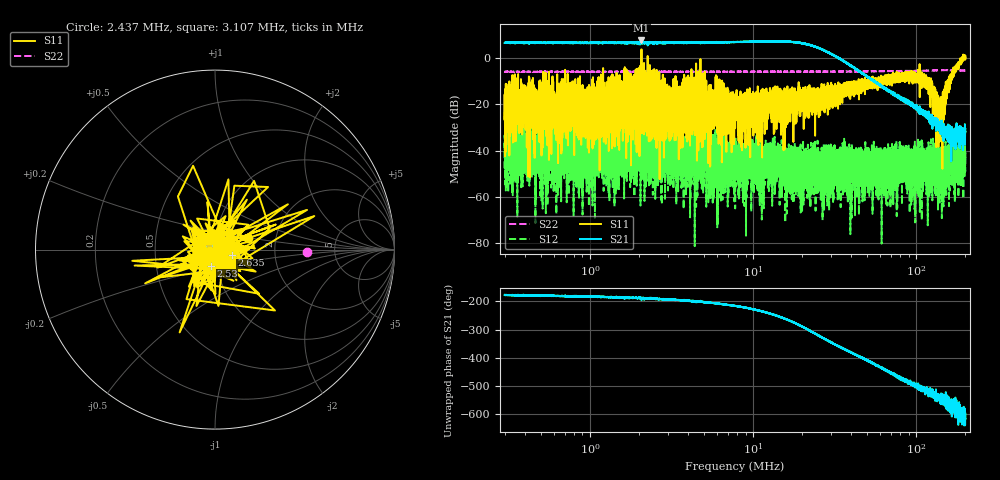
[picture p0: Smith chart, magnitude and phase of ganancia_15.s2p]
# Hz S DB R 50
! CMT, M5065, 19127446, 24.2.4/2
! Date: 11/1/2024 4:23:41 PM
! Data: Format (Calibration Info)
! Freq	S11:dB/Ang(F2)	S21:dB/Ang(F2)	S12:dB/Ang(F2)	S22:dB/Ang(F2)
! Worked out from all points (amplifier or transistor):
!   9000 points, 300 kHz to 200 MHz, reference 50 ohm
!   highest |S21| = 7.7 dB at 2.07 MHz (marker M1)
!   |S21| within 3 dB of that: start of sweep to 24.64 MHz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
!   unconditionally stable (mu >= 1): start of sweep to 2.069 MHz; 2.26 MHz to 4.757 MHz; 4.759 MHz to 190.7 MHz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
!   at 886.8 kHz: K = 14.14, MAG = 7.9 dB, |S12| = -38.3 dB
!   at 7.749 MHz: K = 21.21, MAG = 8.3 dB, |S12| = -42.2 dB
!   at 200 MHz: K = 17.24, MAG = -8.8 dB, |S12| = -43.9 dB
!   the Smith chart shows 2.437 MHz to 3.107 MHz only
!   S11 on the Smith chart (normalised r, x): 2.437 MHz: 1.44, +0.19; 2.53 MHz: 0.94, -0.17; 2.635 MHz: 1.20, -0.07; 3.107 MHz: 0.79, +0.16
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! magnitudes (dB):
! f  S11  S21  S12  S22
! 300 kHz  -26.3  6.7  -39.9  -5.9
! 351.2 kHz  -35.9  6.7  -50.2  -5.9
! 886.8 kHz  -21.2  6.6  -38.3  -5.9
! 1.663 MHz  -20.7  6.6  -41.4  -5.9
! 2.07 MHz  3.9  7.7  -38.9  -5.8
! 2.437 MHz  -14.2  6.5  -37.8  -5.8
! 2.53 MHz  -20.7  6.7  -37.6  -5.9
! 2.621 MHz  -17.4  6.7  -40.8  -5.8
! 2.635 MHz  -20.2  6.6  -42.0  -5.9
! 3.107 MHz  -16.7  6.7  -48.3  -5.8
! 4.642 MHz  -19.1  6.8  -40.1  -5.9
! 5.598 MHz  -22.6  6.9  -32.5  -5.9
! 6.261 MHz  -21.7  6.8  -29.7  -5.9
! 7.749 MHz  -21.3  6.9  -42.2  -5.9
! 8.353 MHz  -19.1  7.1  -45.8  -5.8
! 22.91 MHz  -18.2  5.5  -53.4  -5.8
! 67.71 MHz  -8.1  -14.1  -52.3  -5.6
! 108.2 MHz  -8.2  -22.5  -43.4  -5.4
! 123.8 MHz  -16.0  -28.0  -39.4  -5.3
! 140.3 MHz  -26.4  -31.0  -52.4  -5.2
! 159.1 MHz  -9.5  -31.3  -45.4  -5.2
! 200 MHz  0.0  -30.6  -43.9  -5.3
